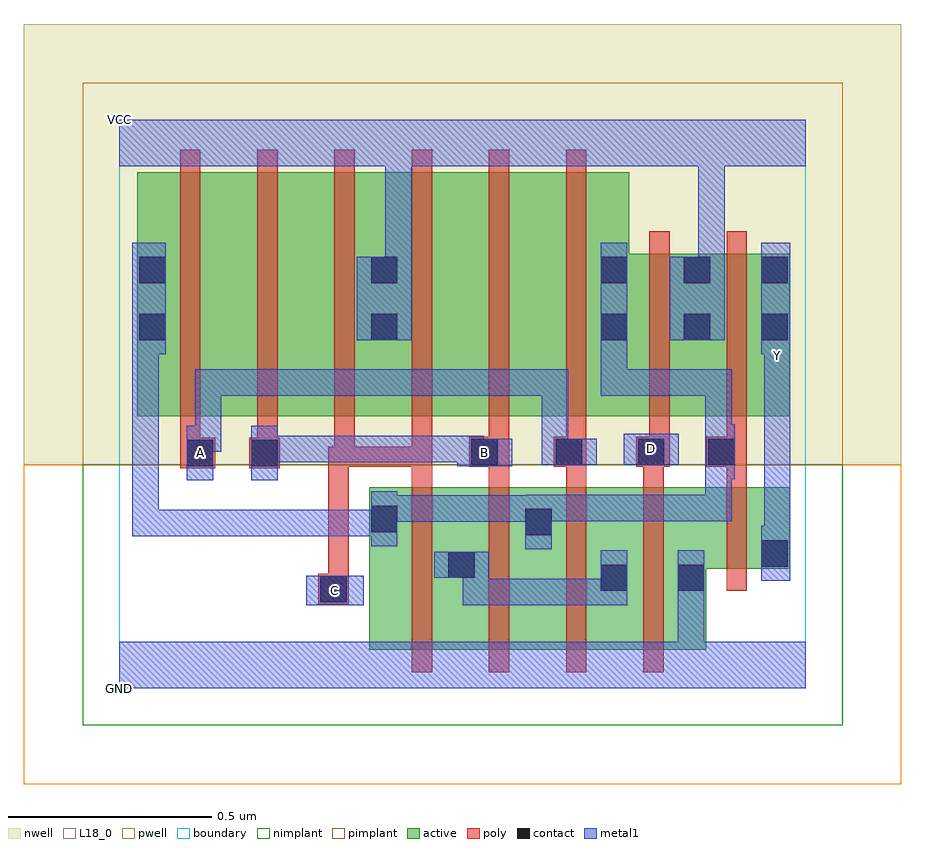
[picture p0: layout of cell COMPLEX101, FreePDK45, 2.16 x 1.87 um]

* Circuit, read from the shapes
.subckt COMPLEX101 A B C D GND VCC Y
M1 n1 C n2 VSUBS nfet w=0.4u l=0.05u
M2 n2 B n1 VSUBS nfet w=0.4u l=0.05u
M3 n1 A n2 VSUBS nfet w=0.4u l=0.05u
M4 GND D n1 VSUBS nfet w=0.4u l=0.05u
M5 Y n2 GND VSUBS nfet w=0.2u l=0.05u
M6 n3 A n2 n4 pfet w=0.6u l=0.05u
M7 n5 B n3 n4 pfet w=0.6u l=0.05u
M8 VCC C n5 n4 pfet w=0.6u l=0.05u
M9 n6 C VCC n4 pfet w=0.6u l=0.05u
M10 n7 B n6 n4 pfet w=0.6u l=0.05u
M11 n2 A n7 n4 pfet w=0.6u l=0.05u
M12 VCC D n2 n4 pfet w=0.4u l=0.05u
M13 Y n2 VCC n4 pfet w=0.4u l=0.05u
.ends

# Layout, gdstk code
import gdstk
lib = gdstk.Library(unit=1e-6, precision=1e-09)
def R(c, l, rs):  # rectangles x0, y0, x1, y1
    for r in rs: c.add(gdstk.rectangle(r[:2], r[2:], *l))
def A(c, l, x, y, w, h, nx, ny, dx, dy):  # array of equal rectangles
    R(c, l, [(x+i*dx, y+j*dy, x+i*dx+w, y+j*dy+h) for i in range(nx) for j in range(ny)])
active = (1, 0)
pwell = (2, 0)
nwell = (3, 0)
nimplant = (4, 0)
pimplant = (5, 0)
poly = (9, 0)
contact = (10, 0)
metal1 = (11, 0)
L18_0 = (18, 0)
boundary = (235, 0)

complex101 = lib.new_cell('COMPLEX101')
R(complex101, active, [(0.615,0.095,0.88,0.495), (0.615,0.095,0.69,0.495), (0.805,0.095,1.07,0.495), (0.805,0.095,0.88,0.492), (0.995,0.095,1.07,0.492), (0.995,0.095,1.255,0.495), (1.18,0.095,1.445,0.495), (1.18,0.095,1.255,0.492), (1.37,0.095,1.445,0.397), (1.37,0.295,1.65,0.495), (1.575,0.295,1.65,0.495), (0.045,0.67,0.27,1.27), (0.045,0.67,0.15,1.2), (0.27,0.67,0.46,1.27), (0.46,0.67,0.69,1.27), (0.615,0.67,0.84,1.27), (0.84,0.67,1.03,1.27), (1.03,0.67,1.255,1.27), (1.18,0.67,1.46,1.07), (1.385,0.67,1.65,1.07), (1.575,0.67,1.65,1.067), (1.18,0.675,1.255,1.2), (0.615,0.707,0.69,1.27), (1.385,0.802,1.46,1.07)])
R(complex101, pwell, [(-0.235,-0.235,1.925,0.55)])
R(complex101, nwell, [(-0.235,0.55,1.925,1.635)])
R(complex101, nimplant, [(-0.09,-0.09,1.78,0.55)])
R(complex101, pimplant, [(-0.09,0.55,1.78,1.49)])
A(complex101, poly, 0.72, 0.04, 0.05, 0.51, 4, 1, 0.19, 0)
A(complex101, poly, 0.72, 0.5, 0.05, 0.095, 4, 1, 0.19, 0)
A(complex101, poly, 0.15, 0.615, 0.05, 0.71, 6, 1, 0.19, 0)
R(complex101, poly, [(0.49,0.207,0.565,0.282), (0.515,0.232,0.565,0.282), (0.515,0.232,0.565,0.282), (0.515,0.232,0.565,0.595), (1.495,0.24,1.545,0.55), (1.495,0.5,1.545,0.595), (0.15,0.542,0.237,0.617), (0.32,0.542,0.395,0.617), (0.515,0.545,0.58,0.595), (0.53,0.545,0.58,0.665), (0.53,0.545,0.77,0.595), (0.53,0.545,0.58,0.595), (0.53,0.545,0.58,0.595), (0.72,0.545,0.77,0.665), (0.72,0.545,0.77,0.595), (0.862,0.545,0.96,0.62), (1.07,0.545,1.15,0.62), (1.272,0.545,1.355,0.62), (1.445,0.545,1.545,0.62), (0.15,0.567,0.2,0.665), (0.34,0.567,0.39,0.665), (0.91,0.57,0.96,0.665), (1.1,0.57,1.15,0.665), (1.305,0.57,1.355,0.665), (1.495,0.57,1.545,0.665), (1.305,0.615,1.355,1.125), (1.495,0.615,1.545,1.125)])
R(complex101, contact, [(0.495,0.212,0.56,0.277), (1.185,0.24,1.25,0.305), (1.375,0.24,1.44,0.305), (0.81,0.272,0.875,0.337), (1.58,0.3,1.645,0.365), (1,0.377,1.065,0.442), (0.62,0.385,0.685,0.45), (0.167,0.547,0.232,0.612), (0.325,0.547,0.39,0.612), (0.867,0.55,0.932,0.615), (1.075,0.55,1.14,0.615), (1.277,0.55,1.342,0.615), (1.45,0.55,1.515,0.615), (0.05,0.857,0.115,0.922), (0.62,0.857,0.685,0.922), (1.185,0.857,1.25,0.922), (1.39,0.857,1.455,0.922), (1.58,0.857,1.645,0.922), (0.05,0.997,0.115,1.062), (0.62,0.997,0.685,1.062), (1.185,0.997,1.25,1.062), (1.39,0.997,1.455,1.062), (1.58,0.997,1.645,1.062)])
R(complex101, metal1, [(0,0,1.69,0.115), (1.375,0.05,1.44,0.27), (0.46,0.205,0.602,0.277), (0.845,0.205,1.105,0.27), (0.845,0.205,0.91,0.337), (1.04,0.205,1.105,0.27), (1.04,0.205,1.105,0.27), (1.04,0.205,1.105,0.27), (1.04,0.205,1.25,0.27), (1.185,0.205,1.25,0.34), (1.375,0.205,1.44,0.34), (1.58,0.265,1.652,0.4), (0.775,0.272,0.91,0.337), (0.845,0.272,0.91,0.337), (1.587,0.335,1.652,0.817), (1,0.342,1.065,0.477), (0.62,0.35,0.685,0.485), (0.032,0.375,0.097,0.44), (0.032,0.375,0.097,0.44), (0.032,0.375,0.097,0.44), (0.032,0.375,0.37,0.44), (0.032,0.375,0.097,0.887), (0.305,0.375,0.37,0.44), (0.305,0.375,0.37,0.44), (0.305,0.375,0.37,0.44), (0.305,0.375,0.512,0.44), (0.447,0.375,0.512,0.44), (0.447,0.375,0.527,0.44), (0.462,0.375,0.527,0.44), (0.462,0.375,0.685,0.44), (0.62,0.41,0.685,0.475), (0.62,0.41,0.685,0.475), (0.62,0.41,0.927,0.475), (0.862,0.41,0.927,0.475), (0.862,0.41,0.927,0.475), (0.862,0.41,0.927,0.475), (0.862,0.41,1.065,0.475), (1,0.412,1.112,0.477), (1.047,0.412,1.112,0.477), (1.047,0.412,1.25,0.477), (1.185,0.412,1.25,0.477), (1.185,0.412,1.25,0.477), (1.185,0.412,1.25,0.477), (1.185,0.412,1.507,0.477), (1.442,0.412,1.507,0.477), (1.442,0.412,1.507,0.65), (0.167,0.512,0.232,0.647), (0.325,0.512,0.39,0.647), (1.45,0.515,1.515,0.65), (0.832,0.547,0.967,0.615), (0.832,0.55,0.897,0.615), (0.832,0.55,0.897,0.622), (1.04,0.55,1.105,0.615), (1.04,0.55,1.105,0.615), (1.04,0.55,1.175,0.615), (1.04,0.55,1.105,0.785), (1.242,0.55,1.377,0.627), (0.325,0.557,0.512,0.622), (0.447,0.557,0.512,0.622), (0.447,0.557,0.527,0.622), (0.462,0.557,0.527,0.622), (0.462,0.557,0.665,0.622), (0.6,0.557,0.665,0.622), (0.6,0.557,0.665,0.622), (0.6,0.557,0.665,0.622), (0.6,0.557,0.897,0.622), (0.167,0.582,0.252,0.647), (0.187,0.582,0.252,0.647), (0.187,0.582,0.252,0.785), (1.442,0.585,1.507,0.65), (1.442,0.585,1.515,0.65), (1.442,0.585,1.507,0.785), (0.187,0.72,0.252,0.785), (0.187,0.72,0.37,0.785), (0.305,0.72,0.37,0.785), (0.305,0.72,0.507,0.785), (0.442,0.72,0.507,0.785), (0.442,0.72,0.527,0.785), (0.462,0.72,0.527,0.785), (0.462,0.72,0.665,0.785), (0.6,0.72,0.665,0.785), (0.6,0.72,0.665,0.785), (0.6,0.72,0.665,0.785), (0.6,0.72,0.927,0.785), (0.862,0.72,0.927,0.785), (0.862,0.72,0.927,0.785), (0.862,0.72,0.927,0.785), (0.862,0.72,1.105,0.785), (1.04,0.72,1.105,0.785), (1.185,0.72,1.507,0.785), (1.185,0.72,1.25,0.887), (1.442,0.72,1.507,0.785), (1.587,0.752,1.652,0.887), (0.032,0.822,0.097,0.887), (0.032,0.822,0.097,0.887), (0.032,0.822,0.115,1.097), (1.185,0.822,1.25,0.887), (1.185,0.822,1.25,1.097), (1.58,0.822,1.652,1.097), (1.587,0.822,1.652,0.887), (0.585,0.857,0.72,1.062), (1.355,0.857,1.49,1.062), (0.655,0.997,0.72,1.35), (1.425,0.997,1.49,1.062), (1.425,0.997,1.49,1.062), (1.425,0.997,1.49,1.35), (0,1.285,1.69,1.4)])
R(complex101, L18_0, [(0,0,1.69,0.115), (1.375,0.05,1.44,0.27), (0.46,0.205,0.602,0.277), (1.375,0.205,1.44,0.34), (0.497,0.207,0.562,0.272), (1.58,0.265,1.652,0.4), (1.587,0.335,1.652,0.817), (0.167,0.512,0.232,0.647), (0.325,0.512,0.39,0.647), (0.167,0.547,0.232,0.612), (0.832,0.547,0.967,0.615), (0.867,0.547,0.932,0.612), (0.832,0.55,0.897,0.615), (0.832,0.55,0.897,0.622), (1.04,0.55,1.105,0.615), (1.04,0.55,1.105,0.615), (1.04,0.55,1.105,0.785), (1.04,0.55,1.175,0.615), (1.242,0.55,1.377,0.627), (0.325,0.557,0.512,0.622), (0.447,0.557,0.512,0.622), (0.447,0.557,0.527,0.622), (0.462,0.557,0.527,0.622), (0.462,0.557,0.665,0.622), (0.6,0.557,0.665,0.622), (0.6,0.557,0.665,0.622), (0.6,0.557,0.665,0.622), (0.6,0.557,0.897,0.622), (1.277,0.557,1.342,0.622), (0.167,0.582,0.252,0.647), (0.187,0.582,0.252,0.647), (0.187,0.582,0.252,0.785), (0.187,0.72,0.252,0.785), (0.187,0.72,0.37,0.785), (0.305,0.72,0.37,0.785), (0.305,0.72,0.507,0.785), (0.442,0.72,0.507,0.785), (0.442,0.72,0.527,0.785), (0.462,0.72,0.527,0.785), (0.462,0.72,0.665,0.785), (0.6,0.72,0.665,0.785), (0.6,0.72,0.665,0.785), (0.6,0.72,0.665,0.785), (0.6,0.72,0.927,0.785), (0.862,0.72,0.927,0.785), (0.862,0.72,0.927,0.785), (0.862,0.72,0.927,0.785), (0.862,0.72,1.105,0.785), (1.04,0.72,1.105,0.785), (1.587,0.752,1.652,0.887), (1.587,0.787,1.652,0.852), (1.58,0.822,1.652,1.097), (1.587,0.822,1.652,0.887), (0.585,0.857,0.72,1.062), (1.355,0.857,1.49,1.062), (0.655,0.997,0.72,1.35), (1.425,0.997,1.49,1.062), (1.425,0.997,1.49,1.062), (1.425,0.997,1.49,1.35), (0,1.285,1.69,1.4)])
R(complex101, boundary, [(0,0,1.69,1.4)])
complex101.add(gdstk.Label('A', (0.2,0.58), layer=11, texttype=0))
complex101.add(gdstk.Label('B', (0.9,0.58), layer=11, texttype=0))
complex101.add(gdstk.Label('C', (0.53,0.24), layer=11, texttype=0))
complex101.add(gdstk.Label('D', (1.31,0.59), layer=11, texttype=0))
complex101.add(gdstk.Label('Y', (1.62,0.82), layer=11, texttype=0))
complex101.add(gdstk.Label('VCC', (0,1.4), layer=11, texttype=0))
complex101.add(gdstk.Label('GND', (0,0), layer=11, texttype=0))

lib.write_gds('COMPLEX101.gds')
